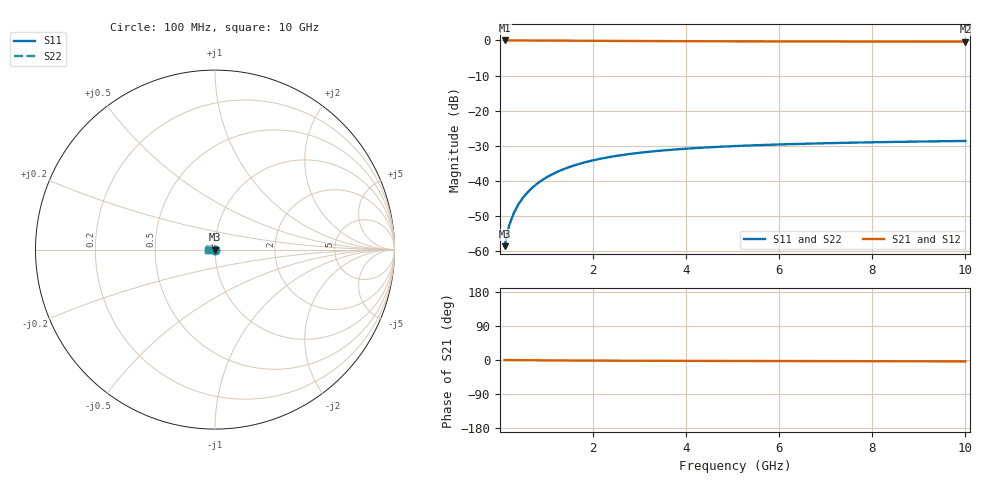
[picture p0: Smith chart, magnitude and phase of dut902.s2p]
! Touchstone file exported from HFSS 2024.1.0
!  File:  C:/UserFiles/LocalFiles/RDL_TSV_Batchsim/temp_TSV1_902_1779944370.aedt
!  Generated:  01:04:43 PM May 28, 2026
!  Design:  TSV1
!  Project:  temp_TSV1_902_1779944370
!  Setup:  Setup1
!  Solution:  Sweep
! Variables:
!  dtsv = 14.9um
!  hbump = 3um
!  htsv = 51.48um
!  lrdl = 252.1521522um
!  p = 40
!  p1 = 57.94um
!  t = 500um
!  trdl = 3um
!  wrdl = 24.89489489um
# GHz S MA R 50.000000
! Terminal data exported
! Port[1] = TSV22_T1
! Port[2] = TSV22_T2
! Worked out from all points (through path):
!   100 points, 100 MHz to 10 GHz, reference 50 ohm
!   highest |S21| = 0.00 dB at 100 MHz (marker M1); lowest = -0.3 dB at 10 GHz (marker M2)
!   lowest |S11| = -58.6 dB at 100 MHz (marker M3), VSWR 1.00, Z = 50 - j0.117 ohm
!   |S11| at or under -10 dB: start of sweep to end of sweep
!   |S22| runs from -58.6 to -28.6 dB; largest |S21 - S12| = 6.1e-15
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0.1  0.00117 -88.9  0.9999 -0.1  0.9999 -0.1  0.00117 -88.9
! Gamma 0 0 0 0
! Port Impedance 50 0 50 0
0.2  0.002339 -92.3  0.9998 -0.2  0.9998 -0.2  0.002339 -92.3
0.3  0.003505 -94.8  0.9995 -0.3  0.9995 -0.3  0.003505 -94.8
0.4  0.004662 -97.0  0.9992 -0.4  0.9992 -0.4  0.004662 -97.0
0.5  0.005804 -99.2  0.9989 -0.5  0.9989 -0.5  0.005804 -99.2
0.6  0.006927 -101.3  0.9984 -0.6  0.9984 -0.6  0.006927 -101.3
0.7  0.008028 -103.3  0.9979 -0.7  0.9979 -0.7  0.008028 -103.3
0.8  0.009103 -105.3  0.9973 -0.8  0.9973 -0.8  0.009103 -105.3
0.9  0.01015 -107.2  0.9967 -0.9  0.9967 -0.9  0.01015 -107.2
1.1  0.01216 -111.0  0.9954 -1.0  0.9954 -1.0  0.01216 -111.0
1.4  0.01492 -116.2  0.9932 -1.3  0.9932 -1.3  0.01492 -116.2
1.6  0.0166 -119.5  0.9916 -1.4  0.9916 -1.4  0.0166 -119.5
1.8  0.01814 -122.5  0.99 -1.5  0.99 -1.5  0.01814 -122.5
2.1  0.02023 -126.8  0.9877 -1.7  0.9877 -1.7  0.02023 -126.8
2.5  0.02261 -131.9  0.9847 -1.8  0.9847 -1.8  0.02261 -131.9
2.9  0.02462 -136.4  0.982 -2.0  0.982 -2.0  0.02462 -136.4
3.4  0.02668 -141.3  0.979 -2.1  0.979 -2.1  0.02668 -141.3
4.2  0.02923 -148.0  0.975 -2.4  0.975 -2.4  0.02923 -148.0
5.1  0.03135 -154.0  0.9715 -2.6  0.9715 -2.6  0.03135 -154.0
6.7  0.03392 -162.5  0.9671 -2.9  0.9671 -2.9  0.03392 -162.5
8.4  0.03573 -169.6  0.9641 -3.3  0.9641 -3.3  0.03573 -169.6
10  0.03697 -175.0  0.9622 -3.6  0.9622 -3.6  0.03697 -175.0
